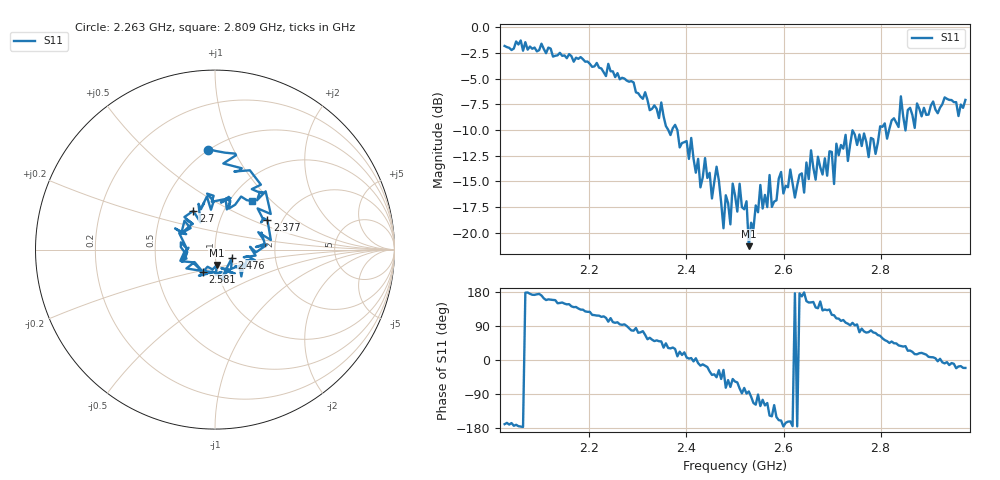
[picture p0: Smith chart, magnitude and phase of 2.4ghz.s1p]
#  HZ  S  DB  R  50.0
! Rohde & Schwarz ZVL
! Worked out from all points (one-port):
!   201 points, 2.025 GHz to 2.975 GHz, reference 50 ohm
!   lowest |S11| = -21.3 dB at 2.529 GHz (marker M1), VSWR 1.19, Z = 50.3 - j8.64 ohm
!   |S11| at or under -10 dB: 2.36236 GHz to 2.370553 GHz (8.193 MHz wide, 0.346 % of centre); 2.381 GHz to 2.798 GHz (417.1 MHz wide, 16.1 % of centre); 2.810789 GHz to 2.817754 GHz (6.965 MHz wide, 0.247 % of centre)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
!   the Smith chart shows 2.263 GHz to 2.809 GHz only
!   S11 on the Smith chart (normalised r, x): 2.263 GHz: 0.50, +0.80; 2.377 GHz: 1.68, +0.62; 2.476 GHz: 1.20, -0.11; 2.581 GHz: 0.85, -0.21; 2.7 GHz: 0.72, +0.33; 2.809 GHz: 1.26, +0.77
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2.025e9  -1.82 -169.4
2.14375e9  -2.79 151.6
2.23875e9  -3.57 101.1
2.2625e9  -5.07 94.0
2.3195e9  -7.07 54.7
2.3765e9  -9.51 29.1
2.38125e9  -10.01 9.7
2.40975e9  -10.78 5.1
2.42875e9  -15.59 -14.9
2.43825e9  -12.74 -14.9
2.4525e9  -16.67 -39.3
2.462e9  -13.58 -45.5
2.47625e9  -19.58 -26.2
2.481e9  -16.36 -73.1
2.4905e9  -19.19 -71.2
2.5e9  -16.35 -56.8
2.52375e9  -16.95 -88.6
2.5285e9  -21.32 -83.1
2.55225e9  -15.36 -121.6
2.58075e9  -16.97 -119.1
2.61875e9  -15.23 -174.5
2.6995e9  -12.14 119.3
2.70425e9  -15.27 118.1
2.709e9  -11.34 109.8
2.7375e9  -11.40 91.6
2.80875e9  -9.36 52.5
2.85625e9  -8.05 24.4
2.975e9  -7.08 -21.0
